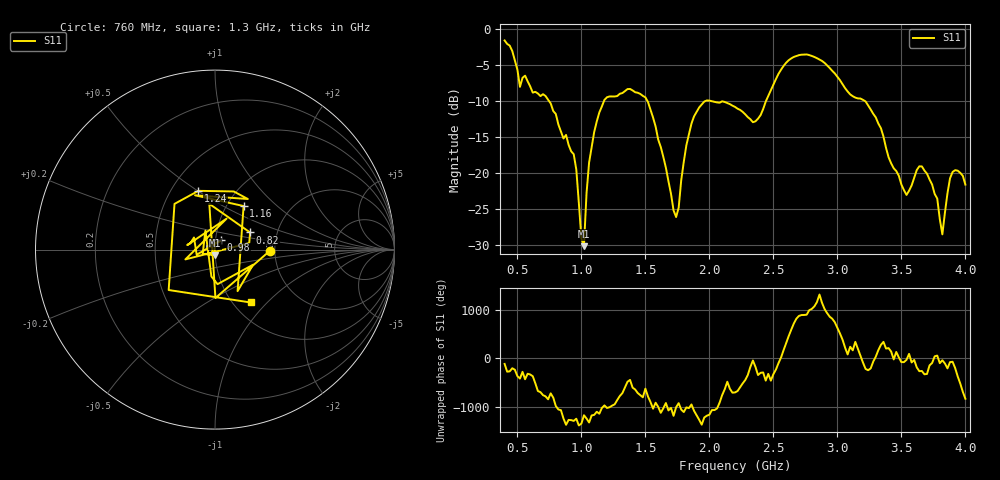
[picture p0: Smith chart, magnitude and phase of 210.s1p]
!Created with skrf (http://scikit-rf.org).
# Hz S RI R 50.0
!freq ReS11 ImS11
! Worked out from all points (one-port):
!   181 points, 400 MHz to 4 GHz, reference 50 ohm
!   lowest |S11| = -30.2 dB at 1.02 GHz (marker M1), VSWR 1.06, Z = 49.7 - j3.09 ohm
!   |S11| at or under -10 dB: 1.516 GHz to 1.969 GHz (452.9 MHz wide, 26 % of centre); 2.014 GHz to 2.442 GHz (428.2 MHz wide, 19.2 % of centre); 3.216 GHz to end of sweep (the widest 3 of 4)
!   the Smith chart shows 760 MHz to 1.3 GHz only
!   S11 on the Smith chart (normalised r, x): 760 MHz: 1.88, -0.03; 820 MHz: 1.45, +0.29; 980 MHz: 1.07, +0.11; 1.16 GHz: 1.20, +0.63; 1.24 GHz: 0.68, +0.50; 1.3 GHz: 1.20, -0.81
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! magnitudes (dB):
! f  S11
! 400 MHz  -1.6
! 520 MHz  -8.0
! 760 MHz  -10.3
! 820 MHz  -13.3
! 860 MHz  -15.2
! 940 MHz  -17.4
! 980 MHz  -24.1
! 1.02 GHz  -30.2
! 1.06 GHz  -18.5
! 1.16 GHz  -10.7
! 1.24 GHz  -9.4
! 1.3 GHz  -9.0
! 1.52 GHz  -10.1
! 1.72 GHz  -25.2
! 1.76 GHz  -24.8
! 1.82 GHz  -16.1
! 1.88 GHz  -12.1
! 2.2 GHz  -10.8
! 2.36 GHz  -12.8
! 2.66 GHz  -3.9
! 3.1 GHz  -9.1
! 3.3 GHz  -12.3
! 3.56 GHz  -22.4
! 3.66 GHz  -19.1
! 3.78 GHz  -23.5
! 3.82 GHz  -28.5
! 3.9 GHz  -19.8
! 4 GHz  -21.6
